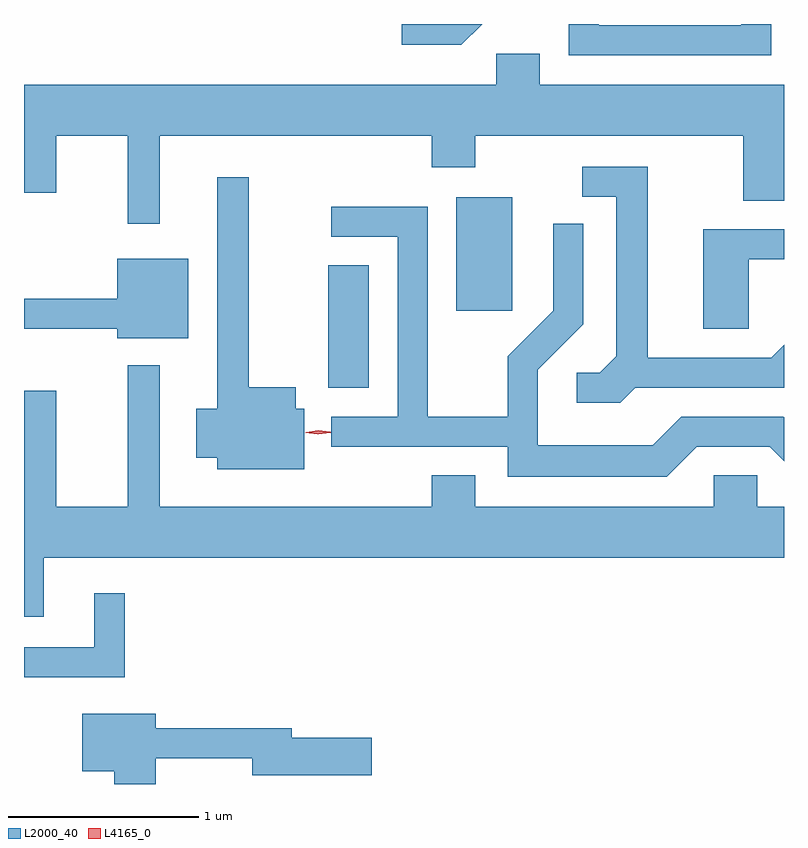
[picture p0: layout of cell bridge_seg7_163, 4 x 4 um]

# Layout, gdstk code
import gdstk
lib = gdstk.Library(unit=1e-6, precision=1e-09)
def R(c, l, rs):  # rectangles x0, y0, x1, y1
    for r in rs: c.add(gdstk.rectangle(r[:2], r[2:], *l))
def P(c, l, *ps):  # polygons
    for p in ps: c.add(gdstk.Polygon(p, *l))
L2000_40 = (2000, 40)
L4165_0 = (4165, 0)

bridge_seg7_163 = lib.new_cell('bridge_seg7_163')
R(bridge_seg7_163, L2000_40, [(1635.356,1719.651,1635.569,1720.294), (1636.031,1720.056,1636.324,1720.654)])
P(bridge_seg7_163, L2000_40, [(1637.689,1721.565),(1637.531,1721.565),(1637.531,1721.559),(1636.779,1721.559),(1636.779,1721.565),(1636.621,1721.565),(1636.621,1721.401),(1637.689,1721.401)],
  [(1636.166,1721.565),(1635.743,1721.565),(1635.743,1721.456),(1636.057,1721.456)],
  [(1634.469,1720.976),(1635.901,1720.976),(1635.901,1720.811),(1636.129,1720.811),(1636.129,1720.976),(1637.541,1720.976),(1637.541,1720.636),(1637.755,1720.636),(1637.755,1721.244),(1636.469,1721.244),(1636.469,1721.409),(1636.241,1721.409),(1636.241,1721.244),(1633.755,1721.244),(1633.755,1720.676),(1633.924,1720.676),(1633.924,1720.976),(1634.301,1720.976),(1634.301,1720.513),(1634.469,1720.513)],
  [(1636.972,1719.651),(1637.755,1719.651),(1637.755,1719.876),(1637.689,1719.809),(1637.039,1719.809),(1637.039,1720.814),(1636.693,1720.814),(1636.693,1720.656),(1636.871,1720.656),(1636.871,1719.817),(1636.784,1719.729),(1636.663,1719.729),(1636.663,1719.571),(1636.892,1719.571)],
  [(1635.229,1719.539),(1635.184,1719.539),(1635.184,1719.654),(1634.939,1719.654),(1634.939,1720.758),(1634.771,1720.758),(1634.771,1719.539),(1634.661,1719.539),(1634.661,1719.281),(1634.771,1719.281),(1634.771,1719.221),(1635.229,1719.221)],
  [(1637.297,1719.341),(1637.679,1719.341),(1637.755,1719.265),(1637.755,1719.496),(1637.752,1719.499),(1637.214,1719.499),(1637.064,1719.349),(1636.459,1719.349),(1636.459,1719.744),(1636.699,1719.984),(1636.699,1720.513),(1636.541,1720.513),(1636.541,1720.057),(1636.301,1719.817),(1636.301,1719.499),(1635.879,1719.499),(1635.879,1720.604),(1635.373,1720.604),(1635.373,1720.446),(1635.721,1720.446),(1635.721,1719.499),(1635.373,1719.499),(1635.373,1719.341),(1636.301,1719.341),(1636.301,1719.181),(1637.137,1719.181)],
  [(1637.569,1720.326),(1637.755,1720.326),(1637.755,1720.484),(1637.331,1720.484),(1637.331,1719.961),(1637.569,1719.961)],
  [(1634.619,1720.329),(1634.246,1720.329),(1634.246,1720.119),(1633.755,1720.119),(1633.755,1719.961),(1634.246,1719.961),(1634.246,1719.911),(1634.619,1719.911)],
  [(1633.859,1718.756),(1637.755,1718.756),(1637.755,1719.024),(1637.614,1719.024),(1637.614,1719.189),(1637.386,1719.189),(1637.386,1719.024),(1636.129,1719.024),(1636.129,1719.189),(1635.901,1719.189),(1635.901,1719.024),(1634.469,1719.024),(1634.469,1719.768),(1634.301,1719.768),(1634.301,1719.024),(1633.924,1719.024),(1633.924,1719.634),(1633.755,1719.634),(1633.755,1718.446),(1633.859,1718.446)],
  [(1634.284,1718.568),(1634.126,1718.568),(1634.126,1718.284),(1633.755,1718.284),(1633.755,1718.126),(1634.284,1718.126)],
  [(1634.449,1717.701),(1634.956,1717.701),(1634.956,1717.611),(1635.584,1717.611),(1635.584,1717.809),(1635.164,1717.809),(1635.164,1717.859),(1634.449,1717.859),(1634.449,1717.934),(1634.061,1717.934),(1634.061,1717.631),(1634.231,1717.631),(1634.231,1717.565),(1634.449,1717.565)])
P(bridge_seg7_163, L4165_0, [(1635.302,1719.405),(1635.235,1719.414),(1635.234,1719.414),(1635.235,1719.415),(1635.302,1719.425),(1635.37,1719.416),(1635.37,1719.415),(1635.37,1719.415)],
  [(1635.303,1719.407),(1635.241,1719.416),(1635.24,1719.416),(1635.241,1719.417),(1635.303,1719.427),(1635.366,1719.418),(1635.367,1719.418),(1635.366,1719.417)])

lib.write_gds('bridge_seg7_163.gds')
